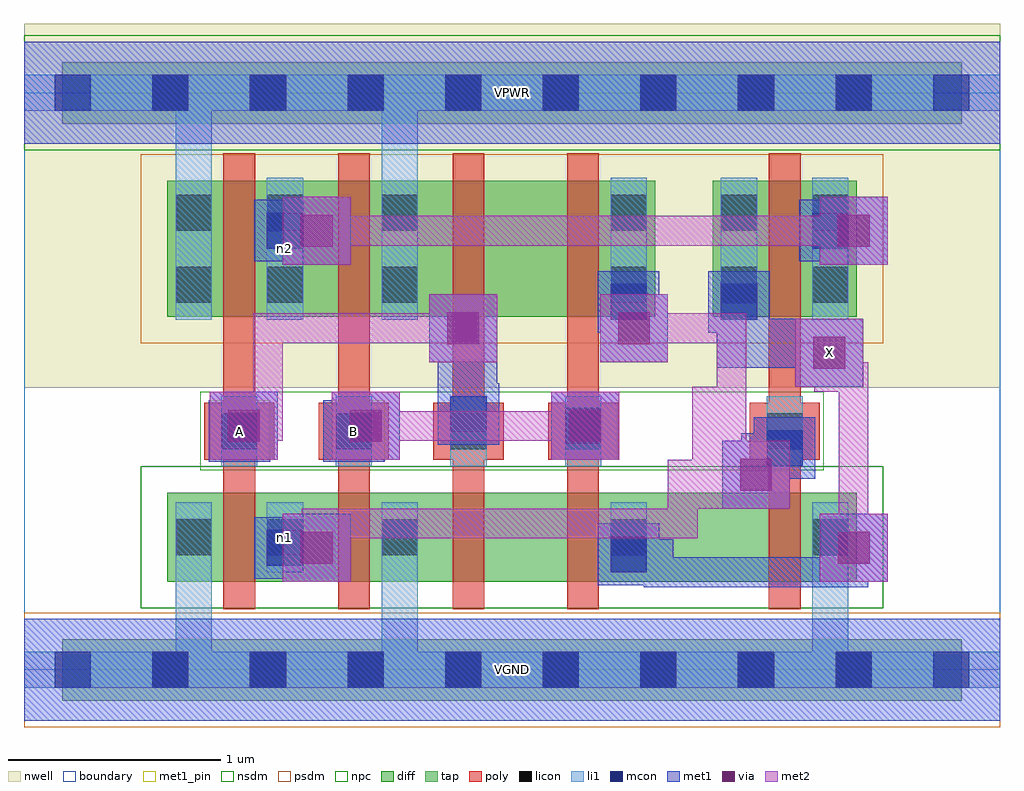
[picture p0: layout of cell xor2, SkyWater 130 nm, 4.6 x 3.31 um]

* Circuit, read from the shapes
.subckt xor2 A B VGND VPWR X n1 n2
XM1 n1 A VGND VGND sky130_fd_pr__nfet_01v8 w=0.42 l=0.15
XM2 VGND B n1 VGND sky130_fd_pr__nfet_01v8 w=0.42 l=0.15
XM3 n3 A VGND VGND sky130_fd_pr__nfet_01v8 w=0.42 l=0.15
XM4 X B n3 VGND sky130_fd_pr__nfet_01v8 w=0.42 l=0.15
XM5 VGND n1 X VGND sky130_fd_pr__nfet_01v8 w=0.42 l=0.15
XM6 n2 A VPWR VPWR sky130_fd_pr__pfet_01v8 w=0.64 l=0.15
XM7 VPWR B n2 VPWR sky130_fd_pr__pfet_01v8 w=0.64 l=0.15
XM8 n4 A VPWR VPWR sky130_fd_pr__pfet_01v8 w=0.64 l=0.15
XM9 n1 B n4 VPWR sky130_fd_pr__pfet_01v8 w=0.64 l=0.15
XM10 n2 n1 X VPWR sky130_fd_pr__pfet_01v8 w=0.64 l=0.15
.ends

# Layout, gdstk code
import gdstk
lib = gdstk.Library(unit=1e-6, precision=1e-09)
def R(c, l, rs):  # rectangles x0, y0, x1, y1
    for r in rs: c.add(gdstk.rectangle(r[:2], r[2:], *l))
def A(c, l, x, y, w, h, nx, ny, dx, dy):  # array of equal rectangles
    R(c, l, [(x+i*dx, y+j*dy, x+i*dx+w, y+j*dy+h) for i in range(nx) for j in range(ny)])
nwell = (64, 20)
diff = (65, 20)
tap = (65, 44)
poly = (66, 20)
licon = (66, 44)
li1 = (67, 20)
mcon = (67, 44)
met1_pin = (68, 16)
met1 = (68, 20)
via = (68, 44)
met2 = (69, 20)
nsdm = (93, 44)
psdm = (94, 20)
npc = (95, 20)
boundary = (235, 4)

xor2 = lib.new_cell('xor2')
R(xor2, nwell, [(0,1.33,4.6,3.045)])
R(xor2, diff, [(0.675,0.415,3.925,0.835), (0.675,1.665,2.975,2.305), (3.245,1.665,3.925,2.305)])
R(xor2, tap, [(0.18,-0.145,4.42,0.145), (0.18,2.575,4.42,2.865)])
A(xor2, poly, 0.94, 0.285, 0.15, 2.15, 4, 1, 0.54, 0)
A(xor2, poly, 0.85, 0.99, 0.33, 0.27, 4, 1, 0.54, 0)
R(xor2, poly, [(3.51,0.285,3.66,2.435), (3.42,0.99,3.75,1.26)])
A(xor2, licon, 0.605, -0.085, 0.17, 0.17, 8, 2, 0.46, 2.72)
A(xor2, licon, 0.93, 1.04, 0.17, 0.17, 4, 1, 0.54, 0)
R(xor2, licon, [(0.715,0.54,0.885,0.71), (1.145,0.54,1.315,0.71), (1.685,0.54,1.855,0.71), (2.765,0.54,2.935,0.71), (3.715,0.54,3.885,0.71), (3.5,1.04,3.67,1.21), (0.715,1.73,0.885,1.9), (1.145,1.73,1.315,1.9), (1.685,1.73,1.855,1.9), (2.765,1.73,2.935,1.9), (3.285,1.73,3.455,1.9), (3.715,1.73,3.885,1.9), (0.715,2.07,0.885,2.24), (1.145,2.07,1.315,2.24), (1.685,2.07,1.855,2.24), (2.765,2.07,2.935,2.24), (3.285,2.07,3.455,2.24), (3.715,2.07,3.885,2.24)])
A(xor2, li1, 0.93, 0.96, 0.17, 0.33, 4, 1, 0.54, 0)
R(xor2, li1, [(0,-0.085,4.6,0.085), (0.715,-0.085,0.885,0.79), (1.685,-0.085,1.855,0.79), (3.715,-0.085,3.885,0.79), (0.715,0.46,0.885,0.79), (1.145,0.46,1.315,0.79), (1.685,0.46,1.855,0.79), (2.765,0.46,2.935,0.79), (3.715,0.46,3.885,0.79), (3.5,0.96,3.67,1.29), (0.715,1.65,0.885,2.32), (0.715,1.65,0.885,2.805), (1.145,1.65,1.315,2.32), (1.685,1.65,1.855,2.32), (1.685,1.65,1.855,2.805), (2.765,1.65,2.935,2.32), (3.285,1.65,3.455,2.32), (3.715,1.65,3.885,2.32), (0,2.635,4.6,2.805)])
A(xor2, mcon, 0.145, -0.085, 0.17, 0.17, 10, 2, 0.46, 2.72)
R(xor2, mcon, [(2.765,0.46,2.935,0.63), (1.145,0.49,1.315,0.66), (3.5,0.96,3.67,1.13), (0.93,1.04,1.1,1.21), (1.47,1.04,1.64,1.21), (2.55,1.065,2.72,1.235), (2.01,1.12,2.18,1.29), (2.765,1.65,2.935,1.82), (3.285,1.65,3.455,1.82), (1.145,1.985,1.315,2.155), (3.715,1.985,3.885,2.155)])
R(xor2, met1_pin, [(0,-0.24,4.6,0.24), (0.87,0.98,1.16,1.27), (1.41,0.98,1.7,1.27), (3.635,1.335,3.955,1.655), (0,2.48,4.6,2.96)])
R(xor2, met1, [(0,-0.24,4.6,0.24), (2.92,0.39,3.06,0.615), (2.92,0.39,3.98,0.53), (3.84,0.39,3.98,0.645), (2.705,0.4,2.995,0.69), (1.22,0.415,1.54,0.735), (3.75,0.415,4.07,0.735), (1.085,0.43,1.375,0.72), (2.78,0.475,3.06,0.615), (1.16,0.505,1.45,0.645), (3.29,0.76,3.61,1.08), (3.38,0.85,3.52,1.115), (3.44,0.9,3.73,1.19), (3.38,0.975,3.655,1.115), (0.87,0.98,1.16,1.27), (1.41,0.98,1.7,1.27), (0.875,0.99,1.195,1.31), (1.45,0.99,1.77,1.31), (2.485,0.99,2.805,1.31), (2.49,1.005,2.78,1.295), (1.95,1.06,2.24,1.35), (0.965,1.08,1.105,1.22), (1.54,1.08,1.68,1.22), (2.565,1.08,2.715,1.22), (2,1.135,2.165,1.275), (2,1.135,2.14,1.45), (2,1.31,2.14,1.68), (3.635,1.335,3.955,1.655), (1.95,1.35,2.23,1.45), (3.265,1.425,3.405,1.68), (3.265,1.425,3.865,1.565), (1.91,1.45,2.23,1.77), (2.715,1.45,3.035,1.77), (2.805,1.54,2.945,1.805), (3.265,1.54,3.405,1.805), (3.265,1.565,3.515,1.59), (3.265,1.565,3.44,1.665), (3.515,1.565,3.635,1.59), (2.705,1.59,2.995,1.88), (3.225,1.59,3.515,1.88), (3.515,1.59,3.635,1.655), (2.78,1.665,2.945,1.805), (3.265,1.665,3.44,1.805), (1.22,1.91,1.54,2.23), (3.75,1.91,4.07,2.23), (1.085,1.925,1.375,2.215), (3.655,1.925,3.945,2.215), (1.16,2,1.45,2.14), (3.73,2,3.98,2.14), (0,2.48,4.6,2.96)])
R(xor2, via, [(1.305,0.5,1.455,0.65), (3.835,0.5,3.985,0.65), (3.375,0.845,3.525,0.995), (0.96,1.075,1.11,1.225), (1.535,1.075,1.685,1.225), (2.57,1.075,2.72,1.225), (3.72,1.42,3.87,1.57), (1.995,1.535,2.145,1.685), (2.8,1.535,2.95,1.685), (1.305,1.995,1.455,2.145), (3.835,1.995,3.985,2.145)])
R(xor2, met2, [(1.22,0.415,1.54,0.735), (3.75,0.415,4.07,0.735), (1.31,0.505,1.45,0.76), (3.84,0.505,3.98,1.45), (1.31,0.62,3.175,0.76), (3.035,0.62,3.175,0.99), (3.175,0.76,3.29,0.99), (3.29,0.76,3.61,1.08), (3.035,0.85,3.52,0.99), (3.15,0.85,3.29,1.335), (0.875,0.99,1.195,1.31), (1.45,0.99,1.77,1.31), (2.485,0.99,2.805,1.31), (0.965,1.08,1.22,1.22), (1.08,1.08,1.22,1.68), (1.54,1.08,2.715,1.22), (3.29,1.08,3.405,1.195), (3.15,1.195,3.405,1.335), (3.265,1.195,3.405,1.68), (3.725,1.31,3.865,1.565), (3.725,1.31,3.98,1.45), (3.635,1.335,3.955,1.655), (1.91,1.45,2.23,1.77), (2.715,1.45,3.035,1.77), (1.08,1.54,2.14,1.68), (2.805,1.54,3.405,1.68), (1.22,1.91,1.54,2.23), (3.75,1.91,4.07,2.23), (1.31,2,3.98,2.14)])
R(xor2, nsdm, [(0.55,0.29,4.05,0.96), (0,2.45,4.6,2.99)])
R(xor2, psdm, [(0,-0.27,4.6,0.27), (0.55,1.54,4.05,2.43)])
R(xor2, npc, [(0.83,0.94,3.77,1.31)])
R(xor2, boundary, [(0,0,4.6,2.72)])
xor2.add(gdstk.Label('n1', (1.23,0.625), layer=67, texttype=5))
xor2.add(gdstk.Label('n2', (1.23,1.985), layer=67, texttype=5))
xor2.add(gdstk.Label('A', (1.015,1.125), layer=68, texttype=5))
xor2.add(gdstk.Label('B', (1.555,1.125), layer=68, texttype=5))
xor2.add(gdstk.Label('X', (3.795,1.495), layer=68, texttype=5))
xor2.add(gdstk.Label('VPWR', (2.3,2.72), layer=68, texttype=5))
xor2.add(gdstk.Label('VGND', (2.3,0), layer=68, texttype=5))
xor2.add(gdstk.Label('A', (1.015,1.125), layer=68, texttype=16))
xor2.add(gdstk.Label('B', (1.555,1.125), layer=68, texttype=16))
xor2.add(gdstk.Label('X', (3.795,1.495), layer=68, texttype=16))
xor2.add(gdstk.Label('VPWR', (2.3,2.72), layer=68, texttype=16))
xor2.add(gdstk.Label('VGND', (2.3,0), layer=68, texttype=16))

lib.write_gds('xor2.gds')
